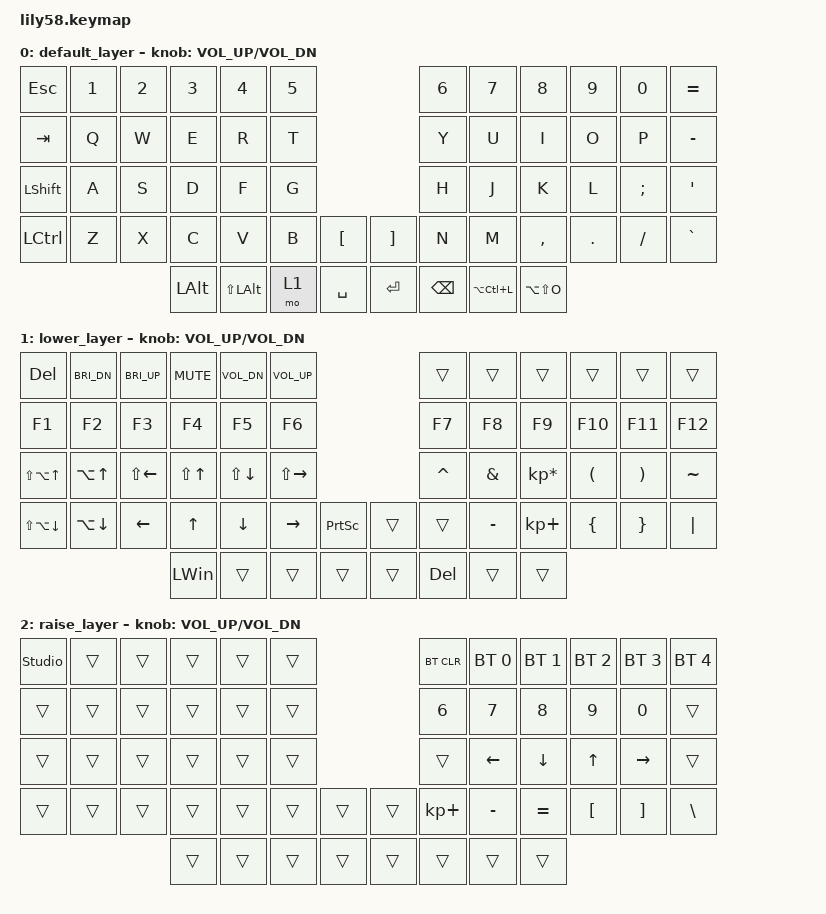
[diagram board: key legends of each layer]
/*
 * Copyright (c) 2020 The ZMK Contributors
 *
 * SPDX-License-Identifier: MIT
 */

#include <behaviors.dtsi>
#include <dt-bindings/zmk/bt.h>
#include <dt-bindings/zmk/keys.h>

/ {
    keymap {
        compatible = "zmk,keymap";

        default_layer {
            // ------------------------------------------------------------------------------------------------------------
            // |  ESC  |  1  |  2  |  3   |  4   |  5   |                   |  6   |  7    |  8    |  9   |   0   |   `   |
            // |  TAB  |  Q  |  W  |  E   |  R   |  T   |                   |  Y   |  U    |  I    |  O   |   P   |   -   |
            // |  CTRL |  A  |  S  |  D   |  F   |  G   |                   |  H   |  J    |  K    |  L   |   ;   |   '   |
            // | SHIFT |  Z  |  X  |  C   |  V   |  B   |   "["  |  |  "]"  |  N   |  M    |  ,    |  .   |   /   | SHIFT |
            //                     | ALT  | GUI  | LOWER|  SPACE |  | ENTER | RAISE| BSPC  | GUI   |

            bindings = <
&kp ESC           &kp N1  &kp N2  &kp N3    &kp N4            &kp N5                         &kp N6         &kp N7         &kp N8         &kp N9   &kp N0    &kp EQUAL
&kp TAB           &kp Q   &kp W   &kp E     &kp R             &kp T                          &kp Y          &kp U          &kp I          &kp O    &kp P     &kp MINUS
&kp LEFT_SHIFT    &kp A   &kp S   &kp D     &kp F             &kp G                          &kp H          &kp J          &kp K          &kp L    &kp SEMI  &kp SQT
&kp LEFT_CONTROL  &kp Z   &kp X   &kp C     &kp V             &kp B   &kp LBKT     &kp RBKT  &kp N          &kp M          &kp COMMA      &kp DOT  &kp FSLH  &kp GRAVE
                                  &kp LALT  &kp LS(LEFT_ALT)  &mo 1   &kp SPACE    &kp RET   &kp BACKSPACE  &kp LA(LC(L))  &kp LA(LS(O))
            >;

            sensor-bindings = <&inc_dec_kp C_VOL_UP C_VOL_DN>;
        };

        lower_layer {
            // --------------------------------------------------------------------------------------------------------------
            // | LPAD  | BRDn | BRUp |  MUT |  Vo- |  Vo+ |                   |      |       |       |      |       |       |
            // |  F1   |  F2  |  F3  |  F4  |  F5  |  F6  |                   |  F7  |  F8   |  F9   |  F10 |  F11  |  F12  |
            // |   `   |  !   |  @   |  #   |  $   |  %   |                   |  ^   |  &    |  *    |  (   |   )   |   ~   |
            // |       |      |      |      |      |      |        |  |       |      |  _    |  +    |  {   |   }   |  "|"  |
            //                       |      |      |      |        |  |       |      |       |       |

            bindings = <
&kp DELETE              &kp C_BRI_DN        &kp C_BRI_UP        &kp C_MUTE        &kp C_VOL_DN        &kp C_VOL_UP                                    &trans     &trans     &trans           &trans    &trans    &trans
&kp F1                  &kp F2              &kp F3              &kp F4            &kp F5              &kp F6                                          &kp F7     &kp F8     &kp F9           &kp F10   &kp F11   &kp F12
&kp LS(LA(UP_ARROW))    &kp LA(UP_ARROW)    &kp LS(LEFT_ARROW)  &kp LS(UP_ARROW)  &kp LS(DOWN_ARROW)  &kp LS(RIGHT_ARROW)                             &kp CARET  &kp AMPS   &kp KP_MULTIPLY  &kp LPAR  &kp RPAR  &kp TILDE
&kp LS(LA(DOWN_ARROW))  &kp LA(DOWN_ARROW)  &kp LEFT_ARROW      &kp UP_ARROW      &kp DOWN_ARROW      &kp RIGHT_ARROW      &kp PRINTSCREEN    &trans  &trans     &kp MINUS  &kp KP_PLUS      &kp LBRC  &kp RBRC  &kp PIPE
                                                                &kp LEFT_WIN      &trans              &trans               &trans             &trans  &kp DEL    &trans     &trans
            >;

            sensor-bindings = <&inc_dec_kp C_VOL_UP C_VOL_DN>;
        };

        raise_layer {
            // ------------------------------------------------------------------------------------------------------------
            // |       |     |     |      |      |      |                   |      |       |       |      |       |       |
            // |   `   |  1  |  2  |  3   |  4   |  5   |                   |  6   |   7   |   8   |  9   |   0   |       |
            // |   F1  |  F2 |  F3 |  F4  |  F5  |  F6  |                   |      |   <-  |   v   |  ^   |  ->   |       |
            // |   F7  |  F8 |  F9 |  F10 |  F11 |  F12 |        |  |       |  +   |   -   |   =   |  [   |   ]   |   \   |
            //                     |      |      |      |        |  |       |      |       |       |

            bindings = <
&studio_unlock  &trans  &trans  &trans  &trans  &trans                    &bt BT_CLR   &bt BT_SEL 0  &bt BT_SEL 1  &bt BT_SEL 2  &bt BT_SEL 3  &bt BT_SEL 4
&trans          &trans  &trans  &trans  &trans  &trans                    &kp N6       &kp N7        &kp N8        &kp N9        &kp N0        &trans
&trans          &trans  &trans  &trans  &trans  &trans                    &trans       &kp LEFT      &kp DOWN      &kp UP        &kp RIGHT     &trans
&trans          &trans  &trans  &trans  &trans  &trans  &trans    &trans  &kp KP_PLUS  &kp MINUS     &kp EQUAL     &kp LBKT      &kp RBKT      &kp BSLH
                                &trans  &trans  &trans  &trans    &trans  &trans       &trans        &trans
            >;

            sensor-bindings = <&inc_dec_kp C_VOL_UP C_VOL_DN>;
        };
    };
};
